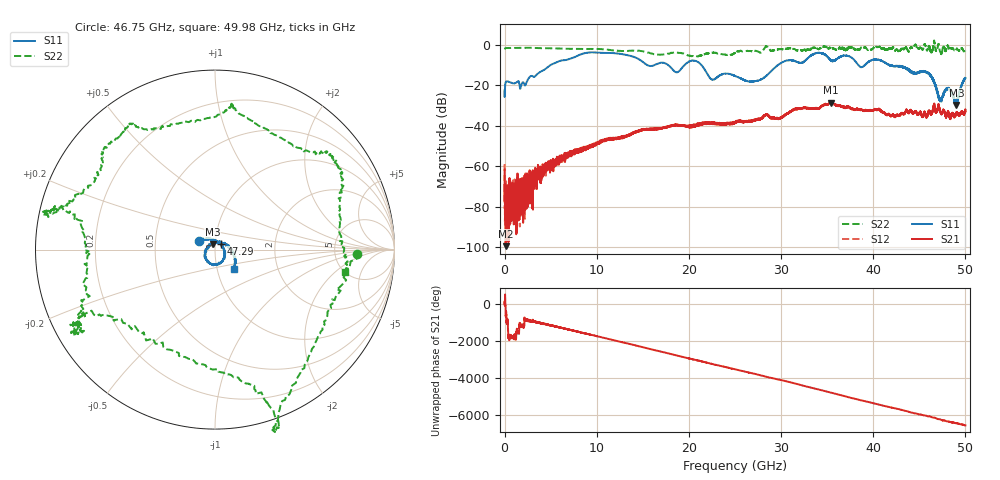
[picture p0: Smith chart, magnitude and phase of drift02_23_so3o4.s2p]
!Created with skrf (http://scikit-rf.org).
# Hz S RI R 50.0
!freq ReS11 ImS11 ReS21 ImS21 ReS12 ImS12 ReS22 ImS22
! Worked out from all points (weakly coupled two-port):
!   10001 points, 300 kHz to 50 GHz, reference 50 ohm
!   highest |S21| = -28.55 dB at 35.38 GHz (marker M1); lowest = -99.5 dB at 115.3 MHz (marker M2)
!   lowest |S11| = -29.7 dB at 49.03 GHz (marker M3), VSWR 1.07, Z = 48.7 + j2.97 ohm
!   |S11| at or under -10 dB: start of sweep to 4.957 GHz; 21.38 GHz to 29.63 GHz (8.252 GHz wide, 32.4 % of centre); 41.87 GHz to end of sweep (the widest 3 of 12)
!   |S22| runs from -5.7 to 2.3 dB; largest |S21 - S12| = 0.0032
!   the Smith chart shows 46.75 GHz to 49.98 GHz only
!   S11 on the Smith chart (normalised r, x): 46.75 GHz: 0.83, +0.08; 47.29 GHz: 1.06, +0.07; 49.98 GHz: 1.20, -0.27
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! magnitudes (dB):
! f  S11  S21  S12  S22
! 300 kHz  -22.4  -61.5  -58.9  -2.1
! 115.3 MHz  -18.4  -99.5  -82.7  -1.5
! 265.3 MHz  -17.9  -82.1  -80.0  -1.4
! 1.87 GHz  -19.1  -76.0  -67.1  -1.3
! 4.51 GHz  -11.5  -62.1  -61.1  -1.6
! 8.335 GHz  -4.5  -51.9  -51.5  -1.9
! 16.67 GHz  -9.1  -41.5  -41.4  -4.7
! 18.69 GHz  -13.5  -39.7  -39.6  -3.7
! 20.6 GHz  -7.7  -39.5  -39.5  -5.7
! 22.51 GHz  -17.1  -38.8  -38.7  -3.7
! 25 GHz  -15.3  -38.2  -38.1  -3.9
! 27.5 GHz  -17.6  -36.6  -36.8  -3.2
! 33.34 GHz  -4.9  -31.4  -31.2  -1.6
! 35.38 GHz  -7.4  -28.6  -28.7  -1.5
! 41.67 GHz  -9.7  -33.9  -34.2  -1.9
! 45.78 GHz  -13.4  -35.6  -35.5  -1.9
! 46.75 GHz  -19.8  -32.7  -32.8  -2.0
! 47.29 GHz  -27.1  -33.2  -33.2  -3.5
! 48.14 GHz  -21.1  -33.3  -33.3  -0.8
! 49.03 GHz  -29.7  -34.1  -33.8  -2.0
! 49.98 GHz  -16.4  -33.2  -32.8  -2.6
! 50 GHz  -16.3  -32.5  -32.7  -2.7
